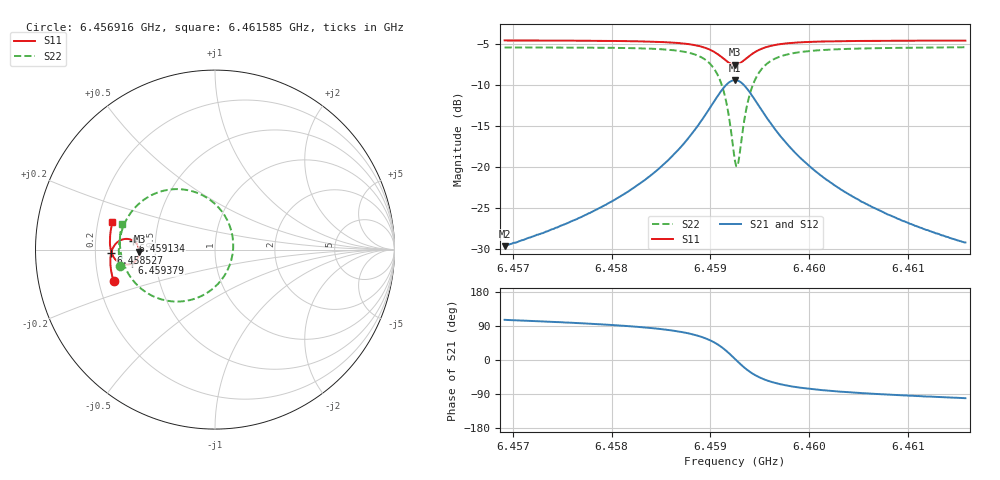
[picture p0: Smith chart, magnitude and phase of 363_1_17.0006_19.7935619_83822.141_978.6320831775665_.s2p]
#  HZ  S  RI  R  50.00
! Rohde & Schwarz Vector Network Analyzer
! Rohde-Schwarz,ZNB20-2Port,1311601062101988,3.16
! Created: UTC 3/20/2024, 11:08:18 PM
! freq[Hz]  re:S11  im:S11  re:S21  im:S21  re:S12  im:S12  re:S22  im:S22
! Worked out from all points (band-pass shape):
!   401 points, 6.456916 GHz to 6.461585 GHz, reference 50 ohm
!   highest |S21| = -9.39 dB at 6.459251 GHz (marker M1); lowest = -29.7 dB at 6.456916 GHz (marker M2)
!   |S21| within 3 dB of the highest: 6.459017 GHz to 6.459485 GHz (467.5 kHz wide, 0.00724 % of centre)
!   lowest |S11| = -7.5 dB at 6.459251 GHz (marker M3), VSWR 2.45, Z = 20.4 - j0.57 ohm
!   |S11| at or under -10 dB: nowhere
!   |S22| runs from -19.9 to -5.4 dB; largest |S21 - S12| = 0.013
!   S11 on the Smith chart (normalised r, x): 6.456916 GHz: 0.26, -0.14; 6.458527 GHz: 0.27, -0.01; 6.459134 GHz: 0.37, +0.05; 6.459379 GHz: 0.36, -0.07; 6.461585 GHz: 0.26, +0.12
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6.4569162e9  -0.5651 -0.1769  -0.00911 0.0316  -0.0074 0.0317  -0.5292 -0.0896
6.4576982e9  -0.5799 -0.109  -0.006 0.0494  -0.00344 0.0488  -0.5357 0.000571
6.4581301e9  -0.5833 -0.0659  -0.000159 0.0686  0.00306 0.0674  -0.5284 0.0675
6.4584803e9  -0.5797 -0.0246  0.0133 0.097  0.0171 0.0944  -0.5041 0.1451
6.458527e9  -0.5784 -0.0183  0.0165 0.1025  0.0206 0.0994  -0.4979 0.1581
6.4587371e9  -0.5665 0.0136  0.042 0.1336  0.0462 0.129  -0.4504 0.229
6.4588889e9  -0.5457 0.0397  0.0838 0.1637  0.0872 0.1572  -0.3733 0.2926
6.4590406e9  -0.5004 0.0595  0.1741 0.1828  0.175 0.1754  -0.2089 0.3371
6.459134e9  -0.4565 0.05  0.2625 0.1528  0.2626 0.1468  -0.0453 0.2892
6.4591807e9  -0.4356 0.0316  0.3055 0.111  0.3068 0.1057  0.0363 0.215
6.4592507e9  -0.4208 -0.0115  0.3388 0.0162  0.3422 0.00933  0.1013 0.0396
6.4592741e9  -0.4225 -0.0273  0.3369 -0.0184  0.3406 -0.0266  0.0978 -0.0257
6.4592858e9  -0.4246 -0.0347  0.3336 -0.0354  0.3371 -0.0443  0.0908 -0.0576
6.4593325e9  -0.4397 -0.0603  0.3062 -0.0946  0.3081 -0.106  0.0357 -0.1689
6.4593791e9  -0.4613 -0.0764  0.265 -0.1351  0.2643 -0.1479  -0.0469 -0.2429
6.4594725e9  -0.5039 -0.0831  0.1819 -0.1664  0.1759 -0.1775  -0.2121 -0.2897
6.4596243e9  -0.5472 -0.0628  0.0954 -0.1533  0.0873 -0.1594  -0.3771 -0.2424
6.4597877e9  -0.5686 -0.0353  0.051 -0.1264  0.0437 -0.129  -0.4564 -0.172
6.4600328e9  -0.5812 0.000185  0.0222 -0.0954  0.0167 -0.096  -0.5041 -0.091
6.4603713e9  -0.5856 0.0402  0.00676 -0.0698  0.0026 -0.0694  -0.5253 -0.0149
6.4608149e9  -0.5836 0.0844  -0.00127 -0.051  -0.00408 -0.0502  -0.5298 0.0551
6.4615853e9  -0.5712 0.1525  -0.00643 -0.0341  -0.00812 -0.0331  -0.5186 0.1449
